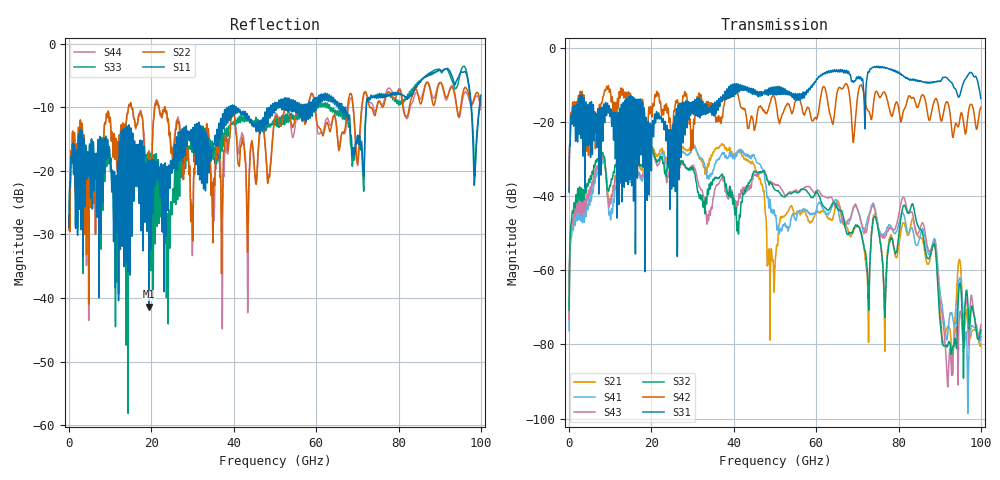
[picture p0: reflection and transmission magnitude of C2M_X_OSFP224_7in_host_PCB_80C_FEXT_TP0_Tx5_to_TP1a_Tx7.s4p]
# GHz S RI R 45
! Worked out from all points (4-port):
!   4000 points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, 25 MHz to 100 GHz, reference 45 ohm
!   strongest paths, dB at 25 MHz, 25.02 GHz, 50.02 GHz, 75.03 GHz, 100 GHz:
!     S31: -38.9, -23.5, -10.4, -5.1, -13.7
!     S42: -38.6, -22.1, -13.7, -12.5, -15.9
!     S32: -70.7, -29.6, -38.3, -48.7, -76.1
!     S43: -73.0, -31.3, -37.0, -48.3, -74.7
!     S41: -76.3, -28.9, -45.3, -47.7, -77.9
!     S21: -73.2, -27.1, -58.4, -48.1, -79.9
!   lowest |S11| = -41.4 dB at 19.45 GHz (marker M1), VSWR 1.02, Z = 44.6 + j0.647 ohm
!   |S11| at or under -10 dB: start of sweep to 38.7 GHz; 40.63 GHz to 48.93 GHz (8.305 GHz wide, 18.5 % of centre); 67.13 GHz to 72.17 GHz (5.041 GHz wide, 7.24 % of centre)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
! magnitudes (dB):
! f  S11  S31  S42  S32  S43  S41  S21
! 25 MHz  -28.9  -38.9  -38.6  -70.7  -73.0  -76.3  -73.2
! 8.1 GHz  -19.8  -19.7  -14.2  -28.2  -29.6  -30.6  -29.5
! 19.45 GHz  -41.4  -32.5  -16.0  -27.8  -29.6  -29.7  -27.8
! 76.65 GHz  -8.1  -5.3  -12.0  -72.1  -51.2  -50.4  -80.6
! 81.22 GHz  -8.1  -7.7  -16.8  -42.5  -40.2  -44.8  -47.2
! 91.7 GHz  -3.9  -8.0  -14.5  -80.6  -86.4  -78.8  -75.7
! 100 GHz  -8.1  -13.7  -15.9  -76.1  -74.7  -77.9  -79.9
